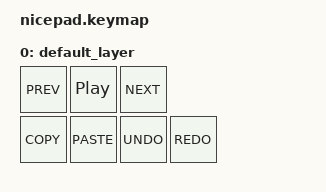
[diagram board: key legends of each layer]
#include <behaviors.dtsi>
#include <dt-bindings/zmk/keys.h>

/ {
    keymap {
        compatible = "zmk,keymap";

        default_layer {
            bindings = <
                &kp C_PREV   &kp C_PP    &kp C_NEXT
                &kp K_COPY   &kp K_PASTE &kp K_UNDO &kp K_REDO
            >;
        };
    };
};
